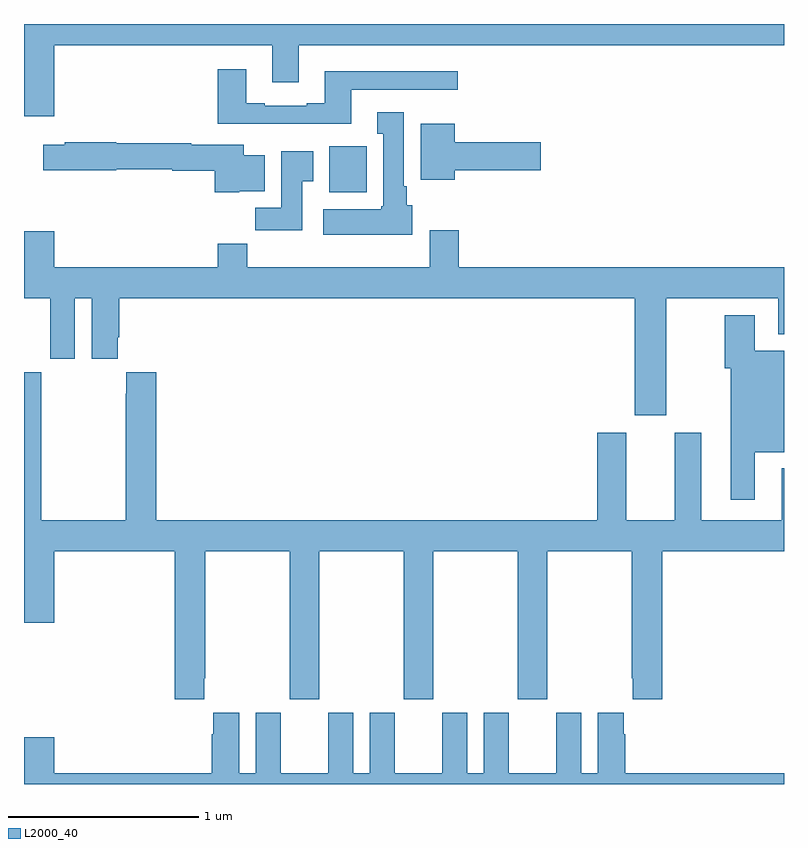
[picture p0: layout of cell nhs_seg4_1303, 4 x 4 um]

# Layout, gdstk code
import gdstk
lib = gdstk.Library(unit=1e-6, precision=1e-09)
def R(c, l, rs):  # rectangles x0, y0, x1, y1
    for r in rs: c.add(gdstk.rectangle(r[:2], r[2:], *l))
def P(c, l, *ps):  # polygons
    for p in ps: c.add(gdstk.Polygon(p, *l))
L2000_40 = (2000, 40)

nhs_seg4_1303 = lib.new_cell('nhs_seg4_1303')
R(nhs_seg4_1303, L2000_40, [(178.607,828.014,178.804,828.256)])
P(nhs_seg4_1303, L2000_40, [(181,828.9),(177,828.9),(177,828.414),(177.16,828.414),(177.16,828.788),(178.307,828.788),(178.307,828.594),(178.447,828.594),(178.447,828.788),(181,828.788)],
  [(178.723,828.555),(179.284,828.555),(179.284,828.652),(178.583,828.652),(178.583,828.484),(178.487,828.484),(178.487,828.471),(178.267,828.471),(178.267,828.484),(178.171,828.484),(178.171,828.661),(178.019,828.661),(178.019,828.374),(178.723,828.374)],
  [(179.044,827.946),(179.014,827.946),(179.014,828.046),(178.999,828.046),(178.999,828.436),(178.859,828.436),(178.859,828.323),(178.892,828.323),(178.892,827.94),(178.879,827.94),(178.879,827.926),(178.575,827.926),(178.575,827.792),(179.044,827.792)],
  [(179.266,828.131),(179.719,828.131),(179.719,828.278),(179.266,828.278),(179.266,828.376),(179.087,828.376),(179.087,828.08),(179.266,828.08)],
  [(178.134,828.02),(178.267,828.02),(178.267,828.208),(178.156,828.208),(178.156,828.265),(177.88,828.265),(177.88,828.272),(177.486,828.272),(177.486,828.278),(177.214,828.278),(177.214,828.265),(177.102,828.265),(177.102,828.131),(177.486,828.131),(177.486,828.136),(177.78,828.136),(177.78,828.128),(178.004,828.128),(178.004,828.014),(178.134,828.014)],
  [(178.465,828.073),(178.522,828.073),(178.522,828.229),(178.355,828.229),(178.355,827.932),(178.216,827.932),(178.216,827.814),(178.465,827.814)],
  [(180.379,827.456),(180.971,827.456),(180.971,827.266),(181,827.266),(181,827.62),(179.288,827.62),(179.288,827.815),(179.135,827.815),(179.135,827.62),(178.175,827.62),(178.175,827.744),(178.019,827.744),(178.019,827.62),(177.16,827.62),(177.16,827.809),(177,827.809),(177,827.456),(177.137,827.456),(177.137,827.139),(177.268,827.139),(177.268,827.456),(177.356,827.456),(177.356,827.139),(177.493,827.139),(177.493,827.251),(177.5,827.251),(177.5,827.456),(180.215,827.456),(180.215,826.842),(180.379,826.842)],
  [(180.847,826.646),(181,826.646),(181,827.181),(180.847,827.181),(180.847,827.368),(180.688,827.368),(180.688,827.088),(180.719,827.088),(180.719,826.395),(180.847,826.395)],
  [(177.695,827.068),(177.539,827.068),(177.539,826.955),(177.535,826.955),(177.535,826.288),(177.09,826.288),(177.09,827.068),(177,827.068),(177,825.75),(177.16,825.75),(177.16,826.124),(177.794,826.124),(177.794,825.345),(177.949,825.345),(177.949,825.457),(177.954,825.457),(177.954,826.124),(178.399,826.124),(178.399,825.345),(178.554,825.345),(178.554,826.124),(178.999,826.124),(178.999,825.345),(179.154,825.345),(179.154,826.124),(179.599,826.124),(179.599,825.345),(179.754,825.345),(179.754,826.124),(180.199,826.124),(180.199,825.457),(180.203,825.457),(180.203,825.345),(180.359,825.345),(180.359,826.124),(181,826.124),(181,826.561),(180.989,826.561),(180.989,826.288),(180.565,826.288),(180.565,826.75),(180.425,826.75),(180.425,826.288),(180.169,826.288),(180.169,826.75),(180.017,826.75),(180.017,826.288),(177.695,826.288)],
  [(181,824.956),(180.164,824.956),(180.164,825.161),(180.157,825.161),(180.157,825.274),(180.02,825.274),(180.02,824.956),(179.932,824.956),(179.932,825.274),(179.801,825.274),(179.801,824.956),(179.551,824.956),(179.551,825.274),(179.42,825.274),(179.42,824.956),(179.332,824.956),(179.332,825.274),(179.201,825.274),(179.201,824.956),(178.951,824.956),(178.951,825.274),(178.82,825.274),(178.82,824.956),(178.732,824.956),(178.732,825.274),(178.601,825.274),(178.601,824.956),(178.351,824.956),(178.351,825.274),(178.22,825.274),(178.22,824.956),(178.132,824.956),(178.132,825.274),(177.995,825.274),(177.995,825.161),(177.989,825.161),(177.989,824.956),(177.16,824.956),(177.16,825.145),(177,825.145),(177,824.9),(181,824.9)])

lib.write_gds('nhs_seg4_1303.gds')
